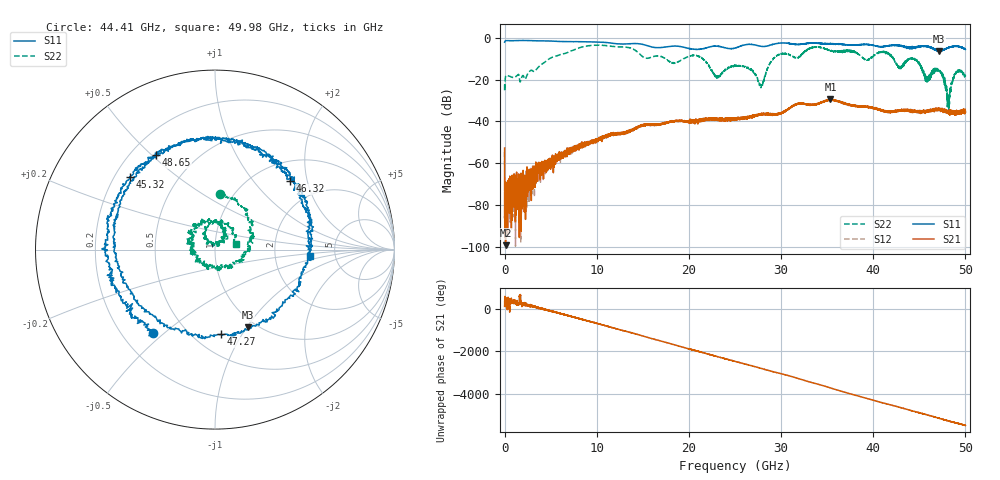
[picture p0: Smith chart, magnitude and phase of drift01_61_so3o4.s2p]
!Created with skrf (http://scikit-rf.org).
# Hz S RI R 50.0
!freq ReS11 ImS11 ReS21 ImS21 ReS12 ImS12 ReS22 ImS22
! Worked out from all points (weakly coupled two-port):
!   10001 points, 300 kHz to 50 GHz, reference 50 ohm
!   highest |S21| = -29.45 dB at 35.36 GHz (marker M1); lowest = -99.2 dB at 105.3 MHz (marker M2)
!   lowest |S11| = -6.6 dB at 47.14 GHz (marker M3), VSWR 2.78, Z = 45.6 - j50.7 ohm
!   |S11| at or under -10 dB: nowhere
!   |S22| runs from -34.7 to -3.6 dB; largest |S21 - S12| = 0.0036
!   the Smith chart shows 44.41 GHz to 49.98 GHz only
!   S11 on the Smith chart (normalised r, x): 44.41 GHz: 0.32, -0.46; 45.32 GHz: 0.26, +0.35; 46.32 GHz: 1.41, +1.58; 47.27 GHz: 0.67, -0.82; 48.65 GHz: 0.30, +0.52; 49.98 GHz: 3.20, -0.31
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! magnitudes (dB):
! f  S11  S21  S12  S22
! 300 kHz  -2.2  -52.7  -54.6  -22.4
! 105.3 MHz  -1.5  -99.2  -78.9  -18.6
! 1.755 GHz  -1.4  -77.5  -97.5  -20.3
! 8.335 GHz  -1.9  -52.2  -51.8  -4.5
! 16.67 GHz  -4.8  -41.5  -41.4  -8.7
! 20.97 GHz  -5.6  -39.6  -39.4  -8.8
! 23.08 GHz  -4.1  -39.5  -39.2  -18.8
! 25 GHz  -5.0  -39.0  -38.8  -13.4
! 27.86 GHz  -4.2  -36.3  -36.8  -23.0
! 29.47 GHz  -2.9  -36.6  -36.5  -8.8
! 33.34 GHz  -2.6  -32.2  -32.0  -4.8
! 35.36 GHz  -2.8  -29.4  -29.8  -6.2
! 41.67 GHz  -3.8  -35.6  -35.1  -8.0
! 44.41 GHz  -4.7  -34.9  -35.2  -10.1
! 45.32 GHz  -4.1  -35.6  -35.4  -15.2
! 46.32 GHz  -4.9  -34.8  -35.3  -18.1
! 47.14 GHz  -6.6  -34.2  -34.1  -16.1
! 47.27 GHz  -6.5  -34.5  -34.7  -16.0
! 48.1 GHz  -4.9  -35.0  -35.1  -30.3
! 48.65 GHz  -4.1  -35.8  -35.6  -19.7
! 49.98 GHz  -5.5  -34.6  -34.6  -18.2
! 50 GHz  -5.7  -35.5  -35.0  -18.0
